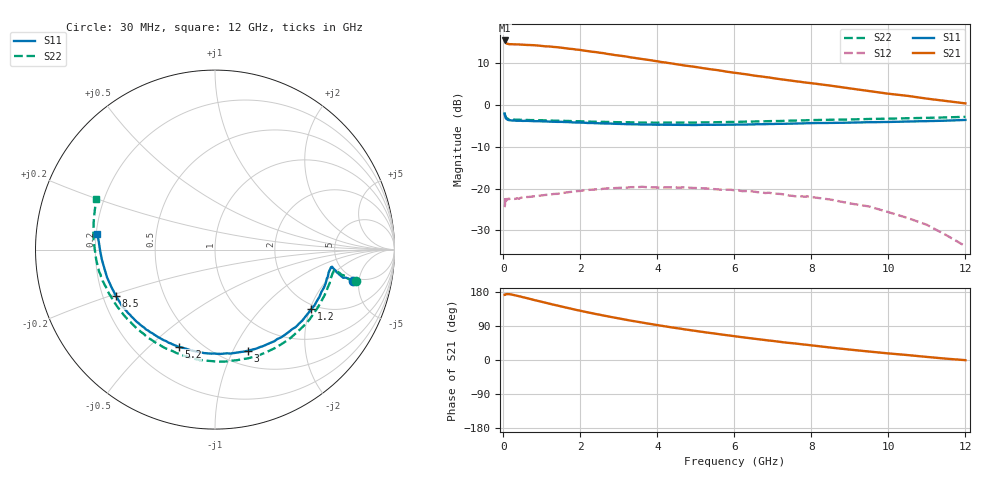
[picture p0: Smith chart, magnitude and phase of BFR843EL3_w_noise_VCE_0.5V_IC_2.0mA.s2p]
! Infineon Technologies  Discrete & RF Semiconductors
! BFR843EL3
! VCE =  0.5 V,  IC =  2.0 mA
! Common Emitter S-Parameters:  Aug 2013
# GHz  S  MA  R  50
!  f  S11  S21  S12  S22
! GHz  MAG  ANG  MAG  ANG  MAG  ANG  MAG  ANG
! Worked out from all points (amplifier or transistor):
!   103 points, 30 MHz to 12 GHz, reference 50 ohm
!   highest |S21| = 15.4 dB at 30 MHz (marker M1)
!   |S21| within 3 dB of that: start of sweep to 2.566 GHz
!   unconditionally stable (mu >= 1): 178.7 MHz to 416.6 MHz; 7.531 GHz to end of sweep
!   at 400 MHz: K = 1.00, MAG = 18.1 dB, |S12| = -22.4 dB
!   at 3.7 GHz: K = 0.68, MSG = 15.2 dB, |S12| = -19.7 dB
!   at 12 GHz: K = 5.97, MAG = 6.3 dB, |S12| = -33.8 dB
!   lowest NFmin = 1.16 dB at 900 MHz
!   S11 on the Smith chart (normalised r, x): 30 MHz: 4.54, -4.16; 1.2 GHz: 1.85, -2.04; 3 GHz: 0.66, -1.15; 5.2 GHz: 0.38, -0.62; 8.5 GHz: 0.25, -0.21; 12 GHz: 0.20, +0.06
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0.03  0.7885 -12.7  5.888 172.0  0.0599 37.8  0.8039 -12.7
0.04  0.7455 -12.1  5.704 172.3  0.064 29.6  0.7621 -12.4
0.05  0.7304 -12.4  5.616 173.3  0.0808 30.0  0.739 -11.4
0.08  0.6799 -9.7  5.413 173.8  0.0738 16.9  0.6974 -10.4
0.2  0.6528 -8.8  5.314 173.0  0.0759 8.1  0.6708 -10.6
0.4  0.6461 -12.4  5.283 168.4  0.0757 5.4  0.666 -16.3
0.7  0.6426 -19.4  5.189 160.9  0.0797 5.9  0.6584 -26.2
1.2  0.6311 -31.8  4.99 148.5  0.084 6.0  0.65 -43.0
1.5  0.627 -39.1  4.828 141.3  0.0881 4.7  0.6455 -52.5
1.8  0.6176 -45.9  4.65 134.3  0.0918 4.1  0.6398 -61.6
2.1  0.6127 -52.8  4.446 127.7  0.0957 3.3  0.6347 -70.6
2.6  0.6006 -63.8  4.153 117.3  0.0996 -1.3  0.6269 -83.6
3  0.5925 -71.9  3.887 109.7  0.102 -3.6  0.6208 -93.4
3.5  0.5857 -81.6  3.584 100.6  0.104 -7.7  0.6161 -104.5
4.1  0.58 -92.2  3.255 90.5  0.1024 -13.0  0.6149 -116.2
4.7  0.5771 -102.7  2.956 81.0  0.1033 -18.4  0.6166 -126.9
5.2  0.5788 -110.5  2.741 73.8  0.1007 -22.4  0.6191 -134.7
6.1  0.5817 -123.9  2.39 61.5  0.0951 -29.8  0.6274 -147.5
7.3  0.5947 -140.1  1.999 46.4  0.0849 -39.0  0.6451 -162.1
8.5  0.6089 -154.9  1.698 32.8  0.0739 -48.5  0.6645 -175.2
10.5  0.6328 -175.0  1.282 13.0  0.0445 -65.3  0.6926 167.6
12  0.6611 172.5  1.042 -0.4  0.0205 -65.9  0.7201 157.0
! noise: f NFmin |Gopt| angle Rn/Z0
0.45  1.17  0.35  5  0.32
0.9  1.16  0.34  17  0.3
1.5  1.18  0.35  28  0.27
1.9  1.2  0.35  33  0.26
2.4  1.23  0.36  42  0.25
3.5  1.3  0.35  65  0.22
5.5  1.47  0.37  100  0.18
8  1.7  0.43  142  0.11
10  1.88  0.46  196  0.08
